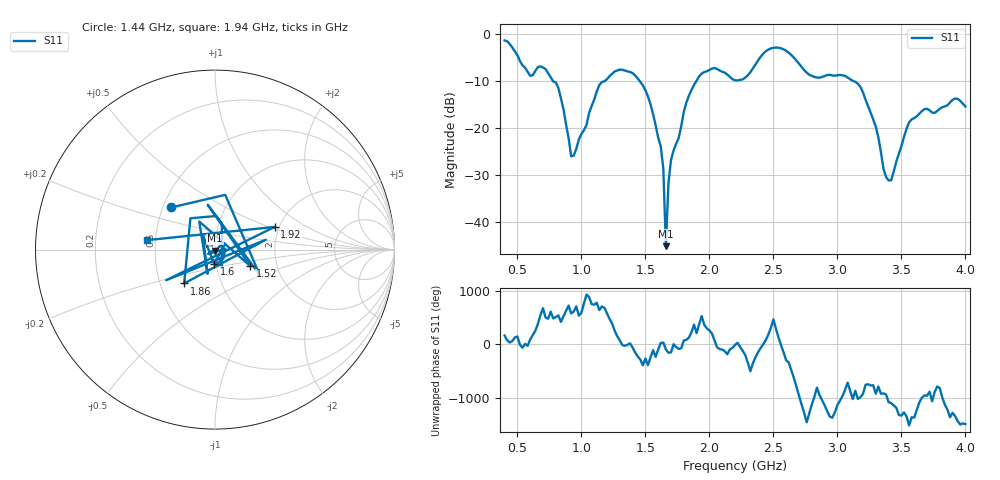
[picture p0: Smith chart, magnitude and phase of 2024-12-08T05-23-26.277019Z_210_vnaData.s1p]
!Created with skrf (http://scikit-rf.org).
# Hz S RI R 50.0
!freq ReS11 ImS11
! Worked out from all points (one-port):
!   181 points, 400 MHz to 4 GHz, reference 50 ohm
!   lowest |S11| = -45.1 dB at 1.66 GHz (marker M1), VSWR 1.01, Z = 50 - j0.556 ohm
!   |S11| at or under -10 dB: 778.6 MHz to 1.181 GHz (401.9 MHz wide, 41 % of centre); 1.456 GHz to 1.897 GHz (441.7 MHz wide, 26.3 % of centre); 3.129 GHz to end of sweep
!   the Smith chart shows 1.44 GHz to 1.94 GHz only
!   S11 on the Smith chart (normalised r, x): 1.44 GHz: 0.55, +0.29; 1.52 GHz: 1.46, -0.28; 1.6 GHz: 0.98, -0.16; 1.86 GHz: 0.66, -0.27; 1.92 GHz: 1.89, +0.55; 1.94 GHz: 0.45, +0.06
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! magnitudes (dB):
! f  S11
! 400 MHz  -1.3
! 600 MHz  -8.8
! 720 MHz  -7.4
! 860 MHz  -16.0
! 920 MHz  -26.0
! 940 MHz  -25.8
! 1.14 GHz  -10.8
! 1.3 GHz  -7.5
! 1.44 GHz  -9.4
! 1.52 GHz  -13.2
! 1.6 GHz  -22.0
! 1.64 GHz  -28.6
! 1.66 GHz  -45.1
! 1.68 GHz  -31.7
! 1.7 GHz  -26.8
! 1.76 GHz  -22.1
! 1.86 GHz  -11.9
! 1.92 GHz  -9.0
! 1.94 GHz  -8.4
! 2.2 GHz  -9.8
! 2.48 GHz  -3.0
! 2.66 GHz  -5.0
! 2.82 GHz  -9.1
! 3.1 GHz  -9.6
! 3.2 GHz  -12.4
! 3.4 GHz  -31.1
! 3.56 GHz  -18.8
! 4 GHz  -15.4
